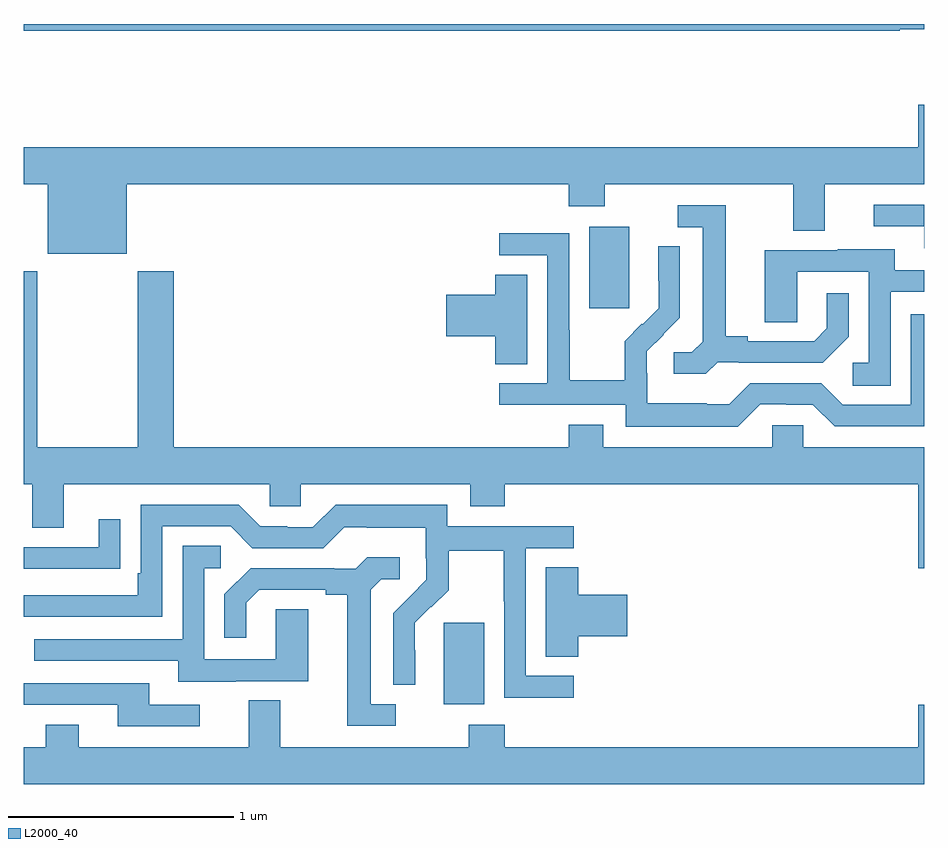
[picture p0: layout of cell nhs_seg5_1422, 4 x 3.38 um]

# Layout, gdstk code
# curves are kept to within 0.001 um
import gdstk
lib = gdstk.Library(unit=1e-6, precision=1e-09)
def R(c, l, rs):  # rectangles x0, y0, x1, y1
    for r in rs: c.add(gdstk.rectangle(r[:2], r[2:], *l))
def P(c, l, *ps):  # polygons
    for p in ps: c.add(gdstk.Polygon(p, *l))
L2000_40 = (2000, 40)

nhs_seg5_1422 = lib.new_cell('nhs_seg5_1422')
R(nhs_seg5_1422, L2000_40, [(198.866,859.778,199.045,860.139), (199.511,861.537,199.69,861.898)])
P(nhs_seg5_1422, L2000_40, [(200.89,862.776),(201,862.776),(201,862.799),(197,862.799),(197,862.768),(200.89,862.768)],
  [(197.458,862.088),(199.421,862.088),(199.421,861.989),(199.581,861.989),(199.581,862.088),(200.417,862.088),(200.417,861.88),(200.557,861.88),(200.557,862.088),(201,862.088),(201,862.441),(200.972,862.441),(200.972,862.252),(197,862.252),(197,862.088),(197.108,862.088),(197.108,861.779),(197.458,861.779)],
  [(201,861.996),(200.775,861.996),(200.775,861.9),(200.999,861.9),(200.999,861.804),(201,861.804)],
  [(200.082,861.297),(200.176,861.297),(200.176,861.294),(200.548,861.294),(200.664,861.41),(200.664,861.604),(200.567,861.604),(200.567,861.447),(200.51,861.39),(200.215,861.39),(200.215,861.413),(200.119,861.413),(200.119,861.993),(199.905,861.993),(199.905,861.897),(200.015,861.897),(200.015,861.389),(199.968,861.342),(199.887,861.342),(199.887,861.245),(200.03,861.245)],
  [(200.271,861.111),(200.387,861.111),(200.387,861.108),(200.505,861.108),(200.601,861.012),(201,861.012),(201,861.51),(200.94,861.51),(200.94,861.108),(200.637,861.108),(200.541,861.204),(200.226,861.204),(200.133,861.111),(200.033,861.111),(200.033,861.115),(199.77,861.115),(199.77,861.249),(199.768,861.249),(199.768,861.346),(199.914,861.494),(199.914,861.812),(199.818,861.812),(199.818,861.658),(199.82,861.658),(199.82,861.536),(199.749,861.465),(199.746,861.468),(199.669,861.391),(199.669,861.217),(199.425,861.217),(199.425,861.44),(199.422,861.44),(199.422,861.87),(199.113,861.87),(199.113,861.771),(199.326,861.771),(199.326,861.204),(199.113,861.204),(199.113,861.108),(199.674,861.108),(199.674,861.011),(200.171,861.011)],
  [(200.85,861.609),(201,861.609),(201,861.705),(200.869,861.705),(200.869,861.799),(200.615,861.799),(200.615,861.795),(200.291,861.795),(200.291,861.475),(200.436,861.475),(200.436,861.699),(200.754,861.699),(200.754,861.294),(200.682,861.294),(200.682,861.193),(200.85,861.193)],
  [(199.421,861.019),(199.421,860.92),(197.666,860.92),(197.666,861.7),(197.506,861.7),(197.506,860.92),(197.061,860.92),(197.061,861.7),(197,861.7),(197,860.756),(197.039,860.756),(197.039,860.562),(197.179,860.562),(197.179,860.756),(198.093,860.756),(198.093,860.658),(198.231,860.658),(198.231,860.756),(198.983,860.756),(198.983,860.657),(199.136,860.657),(199.136,860.756),(200.972,860.756),(200.972,860.382),(201,860.382),(201,860.92),(200.463,860.92),(200.463,861.018),(200.325,861.018),(200.325,860.92),(199.573,860.92),(199.573,861.019)],
  [(199.237,861.686),(199.094,861.686),(199.094,861.596),(198.876,861.596),(198.876,861.413),(199.094,861.413),(199.094,861.289),(199.237,861.289)],
  [(199.444,859.905),(199.23,859.905),(199.23,860.472),(199.444,860.472),(199.444,860.568),(198.882,860.568),(198.882,860.665),(198.385,860.665),(198.285,860.565),(198.17,860.565),(198.17,860.568),(198.051,860.568),(197.955,860.664),(197.52,860.664),(197.52,860.359),(197.507,860.359),(197.507,860.262),(197,860.262),(197,860.166),(197.616,860.166),(197.616,860.568),(197.919,860.568),(198.015,860.472),(198.33,860.472),(198.423,860.565),(198.523,860.565),(198.523,860.561),(198.786,860.561),(198.786,860.427),(198.788,860.427),(198.788,860.33),(198.642,860.182),(198.642,859.864),(198.738,859.864),(198.737,860.141),(198.807,860.211),(198.81,860.208),(198.887,860.285),(198.887,860.46),(199.132,860.46),(199.132,860.236),(199.134,860.236),(199.134,859.807),(199.444,859.807)],
  [(197.327,860.38),(197.429,860.38),(197.429,860.599),(197.333,860.599),(197.333,860.475),(197,860.475),(197,860.379),(197.327,860.379)],
  [(197.941,859.881),(198.265,859.881),(198.265,860.201),(198.12,860.201),(198.12,859.977),(197.802,859.977),(197.802,860.382),(197.875,860.382),(197.875,860.483),(197.706,860.483),(197.706,860.067),(197.047,860.067),(197.047,859.971),(197.687,859.971),(197.687,859.877),(197.941,859.877)],
  [(198.652,859.779),(198.541,859.779),(198.541,860.287),(198.588,860.334),(198.67,860.334),(198.67,860.431),(198.526,860.431),(198.474,860.379),(198.38,860.379),(198.38,860.382),(198.008,860.382),(197.892,860.266),(197.892,860.073),(197.989,860.073),(197.989,860.229),(198.046,860.286),(198.341,860.286),(198.341,860.264),(198.437,860.264),(198.437,859.683),(198.652,859.683)],
  [(199.463,860.081),(199.681,860.081),(199.681,860.264),(199.463,860.264),(199.463,860.387),(199.319,860.387),(199.319,859.99),(199.463,859.99)],
  [(197.782,859.776),(197.557,859.776),(197.557,859.872),(197,859.872),(197,859.776),(197.417,859.776),(197.417,859.68),(197.782,859.68)],
  [(201,859.777),(200.972,859.777),(200.972,859.588),(199.136,859.588),(199.136,859.687),(198.976,859.687),(198.976,859.588),(198.139,859.588),(198.139,859.796),(197.999,859.796),(197.999,859.588),(197.245,859.588),(197.245,859.687),(197.098,859.687),(197.098,859.588),(197,859.588),(197,859.424),(201,859.424)])

lib.write_gds('nhs_seg5_1422.gds')
